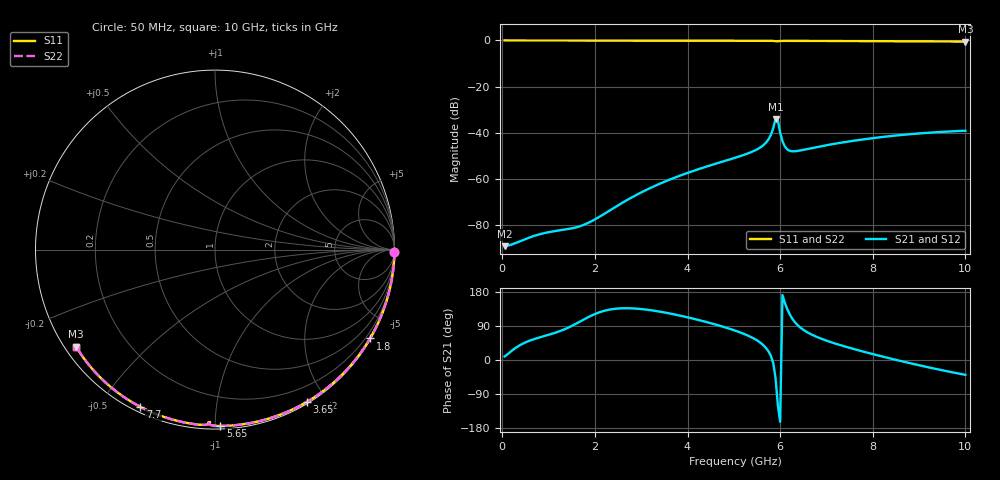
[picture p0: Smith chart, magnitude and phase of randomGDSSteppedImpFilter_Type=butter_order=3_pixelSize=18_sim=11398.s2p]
! freq	dB(S11)	phase(S11)	dB(S12)	phase(S12)
!  dB(S21)	phase(S21)	dB(S22)	phase(S22)
!S-par simulation data
#  GHz  S  DB  R 50
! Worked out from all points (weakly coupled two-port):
!   200 points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, 50 MHz to 10 GHz, reference 50 ohm
!   highest |S21| = -33.97 dB at 5.9 GHz (marker M1); lowest = -89.0 dB at 50 MHz (marker M2)
!   lowest |S11| = -0.5 dB at 10 GHz (marker M3), VSWR 34.70, Z = 1.58 - j15.7 ohm
!   |S11| at or under -10 dB: nowhere
!   |S22| runs from -0.5 to 0.0 dB; largest |S21 - S12| = 0
!   S11 on the Smith chart (normalised r, x): 50 MHz: open; 1.8 GHz: 0.03, -3.75; 3.65 GHz: 0.02, -1.77; 5.65 GHz: 0.02, -1.03; 7.7 GHz: 0.02, -0.63; 10 GHz: 0.03, -0.31
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0.05  -0.00 -0.8  -89.05 9.4  -89.05 9.4  -0.00 -0.8
0.9  -0.02 -15.1  -83.43 63.0  -83.43 63.0  -0.02 -15.1
1.75  -0.04 -29.0  -79.89 106.2  -79.89 106.2  -0.04 -29.0
1.8  -0.04 -29.8  -79.47 109.5  -79.47 109.5  -0.04 -29.8
2.8  -0.06 -45.8  -67.89 136.3  -67.89 136.3  -0.06 -45.8
3.4  -0.07 -55.1  -62.02 127.7  -62.02 127.7  -0.07 -55.1
3.65  -0.08 -58.9  -59.95 122.0  -59.95 122.0  -0.08 -58.9
5.05  -0.12 -79.6  -50.63 76.6  -50.63 76.6  -0.12 -79.6
5.45  -0.14 -85.3  -47.66 55.4  -47.66 55.4  -0.14 -85.3
5.65  -0.15 -88.2  -45.11 37.5  -45.11 37.5  -0.15 -88.2
5.8  -0.17 -90.6  -40.86 10.8  -40.86 10.8  -0.17 -90.6
5.85  -0.20 -91.5  -38.00 -7.8  -38.00 -7.8  -0.20 -91.5
5.9  -0.32 -92.3  -33.97 -47.1  -33.97 -47.1  -0.32 -92.2
5.95  -0.34 -91.6  -34.61 -119.4  -34.61 -119.4  -0.34 -91.6
6  -0.23 -92.2  -39.88 -163.1  -39.88 -163.1  -0.23 -92.2
6.05  -0.20 -93.1  -43.61 171.3  -43.61 171.3  -0.20 -93.1
6.15  -0.18 -94.6  -47.11 135.2  -47.11 135.2  -0.18 -94.6
6.3  -0.18 -96.8  -47.99 102.5  -47.99 102.5  -0.18 -96.8
6.7  -0.20 -102.2  -46.52 65.9  -46.52 65.9  -0.20 -102.2
7.7  -0.27 -115.5  -43.09 25.2  -43.09 25.2  -0.27 -115.5
8.35  -0.32 -123.9  -41.47 4.8  -41.47 4.8  -0.32 -123.9
10  -0.50 -145.0  -39.07 -39.1  -39.07 -39.1  -0.50 -145.0
